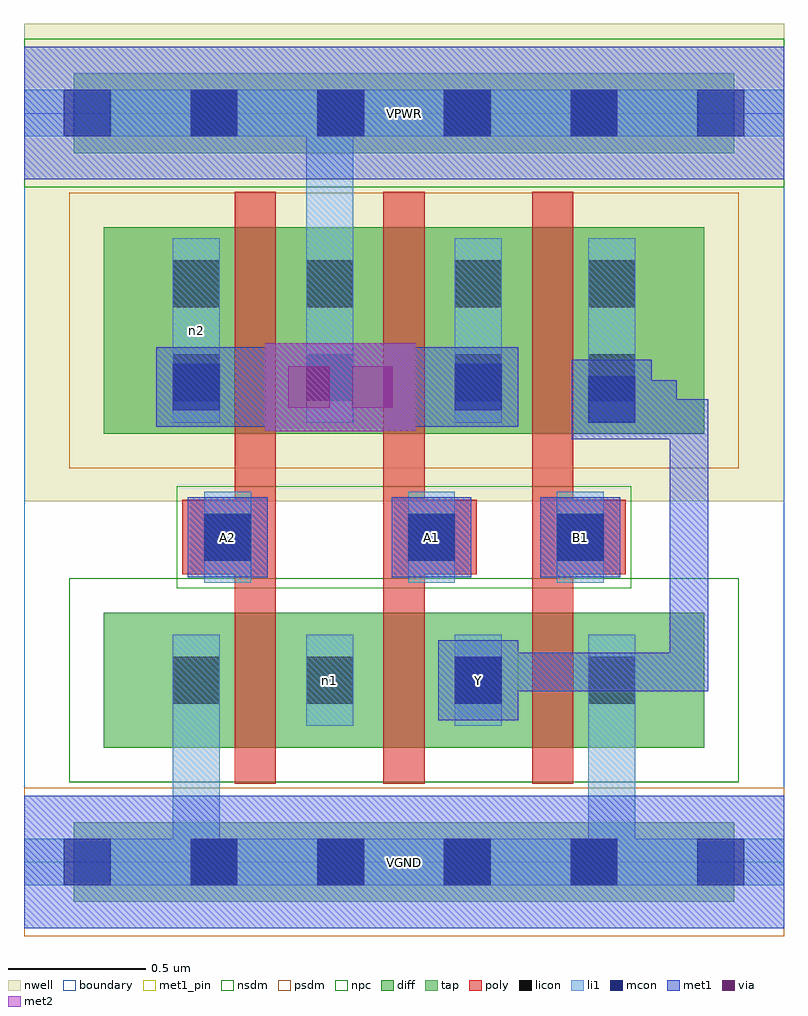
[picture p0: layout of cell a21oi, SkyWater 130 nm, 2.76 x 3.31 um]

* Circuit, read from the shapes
.subckt a21oi A1 A2 B1 VGND VPWR Y n1 n2
XM1 n1 A2 VGND VGND sky130_fd_pr__nfet_01v8 w=0.49 l=0.15
XM2 Y A1 n1 VGND sky130_fd_pr__nfet_01v8 w=0.49 l=0.15
XM3 VGND B1 Y VGND sky130_fd_pr__nfet_01v8 w=0.49 l=0.15
XM4 VPWR A2 n2 VPWR sky130_fd_pr__pfet_01v8 w=0.75 l=0.15
XM5 n2 A1 VPWR VPWR sky130_fd_pr__pfet_01v8 w=0.75 l=0.15
XM6 Y B1 n2 VPWR sky130_fd_pr__pfet_01v8 w=0.75 l=0.15
.ends

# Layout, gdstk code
import gdstk
lib = gdstk.Library(unit=1e-6, precision=1e-09)
def R(c, l, rs):  # rectangles x0, y0, x1, y1
    for r in rs: c.add(gdstk.rectangle(r[:2], r[2:], *l))
def A(c, l, x, y, w, h, nx, ny, dx, dy):  # array of equal rectangles
    R(c, l, [(x+i*dx, y+j*dy, x+i*dx+w, y+j*dy+h) for i in range(nx) for j in range(ny)])
nwell = (64, 20)
diff = (65, 20)
tap = (65, 44)
poly = (66, 20)
licon = (66, 44)
li1 = (67, 20)
mcon = (67, 44)
met1_pin = (68, 16)
met1 = (68, 20)
via = (68, 44)
met2 = (69, 20)
nsdm = (93, 44)
psdm = (94, 20)
npc = (95, 20)
boundary = (235, 4)

a21oi = lib.new_cell('a21oi')
R(a21oi, nwell, [(0,1.31,2.76,3.045)])
R(a21oi, diff, [(0.29,0.415,2.47,0.905), (0.29,1.555,2.47,2.305)])
R(a21oi, tap, [(0.18,-0.145,2.58,0.145), (0.18,2.575,2.58,2.865)])
A(a21oi, poly, 0.765, 0.285, 0.15, 2.15, 3, 1, 0.54, 0)
R(a21oi, poly, [(0.575,1.045,0.905,1.315), (1.315,1.045,1.645,1.315), (1.855,1.045,2.185,1.315)])
A(a21oi, licon, 0.605, -0.085, 0.17, 0.17, 4, 2, 0.46, 2.72)
R(a21oi, licon, [(0.54,0.575,0.71,0.745), (1.025,0.575,1.195,0.745), (1.565,0.575,1.735,0.745), (2.05,0.575,2.22,0.745), (0.655,1.095,0.825,1.265), (1.395,1.095,1.565,1.265), (1.935,1.095,2.105,1.265), (0.54,1.675,0.71,1.845), (1.025,1.675,1.195,1.845), (1.565,1.675,1.735,1.845), (2.05,1.675,2.22,1.845), (0.54,2.015,0.71,2.185), (1.025,2.015,1.195,2.185), (1.565,2.015,1.735,2.185), (2.05,2.015,2.22,2.185)])
R(a21oi, li1, [(0,-0.085,2.76,0.085), (0.54,-0.085,0.71,0.825), (2.05,-0.085,2.22,0.825), (0.54,0.495,0.71,0.825), (1.025,0.495,1.195,0.825), (1.565,0.495,1.735,0.825), (2.05,0.495,2.22,0.825), (0.655,1.015,0.825,1.345), (1.395,1.015,1.565,1.345), (1.935,1.015,2.105,1.345), (0.54,1.595,0.71,2.265), (1.025,1.595,1.195,2.265), (1.025,1.595,1.195,2.805), (1.565,1.595,1.735,2.265), (2.05,1.595,2.22,2.265), (0,2.635,2.76,2.805)])
A(a21oi, mcon, 0.145, -0.085, 0.17, 0.17, 6, 2, 0.46, 2.72)
R(a21oi, mcon, [(1.565,0.575,1.735,0.745), (0.655,1.095,0.825,1.265), (1.395,1.095,1.565,1.265), (1.935,1.095,2.105,1.265), (2.05,1.595,2.22,1.765), (0.54,1.64,0.71,1.81), (1.565,1.64,1.735,1.81)])
R(a21oi, met1_pin, [(0,-0.24,2.76,0.24), (1.505,0.515,1.795,0.805), (0.595,1.035,0.885,1.325), (1.335,1.035,1.625,1.325), (1.875,1.035,2.165,1.325), (0,2.48,2.76,2.96)])
R(a21oi, met1, [(0,-0.24,2.76,0.24), (1.505,0.515,1.795,0.805), (1.655,0.62,1.795,0.76), (1.655,0.62,2.485,0.76), (2.345,0.62,2.485,1.68), (0.595,1.035,0.885,1.325), (1.335,1.035,1.625,1.325), (1.875,1.035,2.165,1.325), (1.99,1.535,2.28,1.825), (2.28,1.535,2.345,1.68), (2.23,1.54,2.37,1.75), (2.23,1.54,2.485,1.68), (0.875,1.565,1.195,1.885), (1.105,1.565,1.425,1.885), (0.48,1.58,0.77,1.87), (0.77,1.58,0.875,1.87), (1.425,1.58,1.505,1.87), (1.505,1.58,1.795,1.87), (2.065,1.61,2.37,1.75), (0.555,1.655,0.875,1.795), (0.735,1.655,1.105,1.795), (1.195,1.655,1.565,1.795), (1.425,1.655,1.72,1.795), (0,2.48,2.76,2.96)])
R(a21oi, via, [(0.96,1.65,1.11,1.8), (1.19,1.65,1.34,1.8)])
R(a21oi, met2, [(0.875,1.565,1.195,1.885), (1.105,1.565,1.425,1.885), (0.965,1.655,1.335,1.795)])
R(a21oi, nsdm, [(0.165,0.29,2.595,1.03), (0,2.45,2.76,2.99)])
R(a21oi, psdm, [(0,-0.27,2.76,0.27), (0.165,1.43,2.595,2.43)])
R(a21oi, npc, [(0.555,0.995,2.205,1.365)])
R(a21oi, boundary, [(0,0,2.76,2.72)])
a21oi.add(gdstk.Label('n1', (1.11,0.66), layer=67, texttype=5))
a21oi.add(gdstk.Label('n2', (0.625,1.93), layer=67, texttype=5))
a21oi.add(gdstk.Label('A2', (0.74,1.18), layer=68, texttype=5))
a21oi.add(gdstk.Label('A1', (1.48,1.18), layer=68, texttype=5))
a21oi.add(gdstk.Label('B1', (2.02,1.18), layer=68, texttype=5))
a21oi.add(gdstk.Label('Y', (1.65,0.66), layer=68, texttype=5))
a21oi.add(gdstk.Label('VPWR', (1.38,2.72), layer=68, texttype=5))
a21oi.add(gdstk.Label('VGND', (1.38,0), layer=68, texttype=5))
a21oi.add(gdstk.Label('A2', (0.74,1.18), layer=68, texttype=16))
a21oi.add(gdstk.Label('A1', (1.48,1.18), layer=68, texttype=16))
a21oi.add(gdstk.Label('B1', (2.02,1.18), layer=68, texttype=16))
a21oi.add(gdstk.Label('Y', (1.65,0.66), layer=68, texttype=16))
a21oi.add(gdstk.Label('VPWR', (1.38,2.72), layer=68, texttype=16))
a21oi.add(gdstk.Label('VGND', (1.38,0), layer=68, texttype=16))

lib.write_gds('a21oi.gds')
